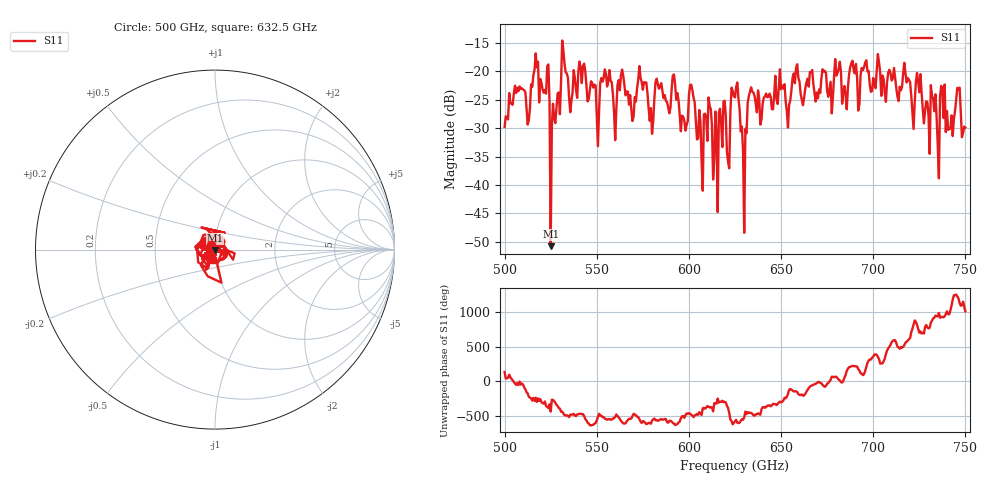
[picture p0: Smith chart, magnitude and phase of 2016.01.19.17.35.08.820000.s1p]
!Created with skrf (http://scikit-rf.org).
# GHz S RI R 50.0
!freq ReS11 ImS11
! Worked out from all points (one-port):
!   401 points, 500 GHz to 750 GHz, reference 50 ohm
!   lowest |S11| = -50.8 dB at 525 GHz (marker M1), VSWR 1.01, Z = 50 - j0.284 ohm
!   |S11| at or under -10 dB: start of sweep to end of sweep
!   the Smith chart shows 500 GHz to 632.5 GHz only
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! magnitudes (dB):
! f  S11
! 500 GHz  -29.8
! 513.1 GHz  -28.6
! 516.9 GHz  -16.8
! 523.1 GHz  -19.1
! 525 GHz  -50.8
! 531.2 GHz  -14.5
! 550 GHz  -28.1
! 562.5 GHz  -23.3
! 568.8 GHz  -26.7
! 574.4 GHz  -21.9
! 579.4 GHz  -26.5
! 583.1 GHz  -22.3
! 593.8 GHz  -23.8
! 598.1 GHz  -30.4
! 601.9 GHz  -23.3
! 606.2 GHz  -28.9
! 611.2 GHz  -26.1
! 614.4 GHz  -27.1
! 621.2 GHz  -36.0
! 625 GHz  -24.6
! 630 GHz  -48.5
! 633.8 GHz  -22.8
! 656.2 GHz  -21.1
! 687.5 GHz  -19.3
! 718.8 GHz  -21.2
! 734.4 GHz  -28.0
! 746.2 GHz  -23.2
! 750 GHz  -29.9
